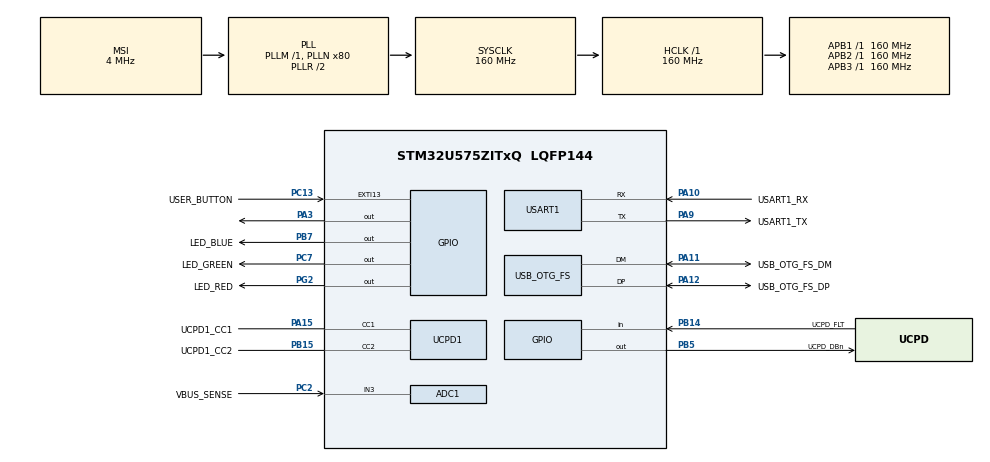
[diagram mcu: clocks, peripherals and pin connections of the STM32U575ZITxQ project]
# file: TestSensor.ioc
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ADC1.NbrOfConversion=1
ADC1.Resolution=ADC_RESOLUTION_14B
ADC1.master=1
CORTEX_M33_NS.userName=CORTEX_M33
Mcu.Family=STM32U5
Mcu.Name=STM32U575ZITxQ
Mcu.Package=LQFP144
NVIC.OTG_FS_IRQn=true\:0\:0\:false\:false\:true\:true\:true\:true
NVIC.PriorityGroup=NVIC_PRIORITYGROUP_3
NVIC.USART1_IRQn=true\:0\:0\:false\:false\:true\:true\:true\:true
PA10.GPIO_Label=USART1_RX
PA10.GPIO_PuPd=GPIO_PULLDOWN
PA10.GPIO_Speed=GPIO_SPEED_FREQ_VERY_HIGH
PA10.Mode=Asynchronous
PA10.Signal=USART1_RX
PA11.GPIO_Label=USB_OTG_FS_DM
PA11.GPIO_Speed=GPIO_SPEED_FREQ_VERY_HIGH
PA11.Mode=Device_Only
PA11.Signal=USB_OTG_FS_DM
PA12.GPIO_Label=USB_OTG_FS_DP
PA12.GPIO_Speed=GPIO_SPEED_FREQ_VERY_HIGH
PA12.Mode=Device_Only
PA12.Signal=USB_OTG_FS_DP
PA13\ (JTMS/SWDIO).Mode=Trace_Asynchronous_SW
PA13\ (JTMS/SWDIO).Signal=DEBUG_JTMS-SWDIO
PA14\ (JTCK/SWCLK).Mode=Trace_Asynchronous_SW
PA14\ (JTCK/SWCLK).Signal=DEBUG_JTCK-SWCLK
PA15\ (JTDI).GPIO_Label=UCPD1_CC1
PA15\ (JTDI).Mode=Sink_AllSignals
PA15\ (JTDI).Signal=UCPD1_CC1
PA3.Signal=GPIO_Output
PA9.GPIO_Label=USART1_TX
PA9.GPIO_PuPd=GPIO_PULLDOWN
PA9.GPIO_Speed=GPIO_SPEED_FREQ_VERY_HIGH
PA9.Mode=Asynchronous
PA9.Signal=USART1_TX
PB14.GPIO_Label=UCPD_FLT
PB14.Signal=GPIO_Input
PB15.GPIO_Label=UCPD1_CC2
PB15.Mode=Sink_AllSignals
PB15.Signal=UCPD1_CC2
PB3\ (JTDO/TRACESWO).Mode=Trace_Asynchronous_SW
PB3\ (JTDO/TRACESWO).Signal=DEBUG_JTDO-SWO
PB5.GPIO_Label=UCPD_DBn
PB5.Signal=GPIO_Output
PB7.GPIO_Label=LED_BLUE
PB7.GPIO_ModeDefaultOutputPP=GPIO_MODE_OUTPUT_PP
PB7.GPIO_PuPd=GPIO_PULLUP
PB7.GPIO_Speed=GPIO_SPEED_FREQ_HIGH
PB7.Signal=GPIO_Output
PC13.GPIO_Label=USER_BUTTON
PC13.GPIO_ModeDefaultEXTI=GPIO_MODE_IT_FALLING
PC13.Signal=GPXTI13
PC14-OSC32_IN\ (PC14).Signal=RCC_OSC32_IN
PC15-OSC32_OUT\ (PC15).Signal=RCC_OSC32_OUT
PC2.GPIO_Label=VBUS_SENSE
PC2.Mode=IN3-Single-Ended
PC2.Signal=ADC1_IN3
PC7.GPIO_Label=LED_GREEN
PC7.GPIO_PuPd=GPIO_PULLUP
PC7.GPIO_Speed=GPIO_SPEED_FREQ_HIGH
PC7.Signal=GPIO_Output
PG2.GPIO_Label=LED_RED
PG2.GPIO_ModeDefaultOutputPP=GPIO_MODE_OUTPUT_PP
PG2.GPIO_PuPd=GPIO_PULLUP
PG2.GPIO_Speed=GPIO_SPEED_FREQ_HIGH
PG2.Signal=GPIO_Output
PH0-OSC_IN\ (PH0).Mode=HSE-External-Oscillator
PH0-OSC_IN\ (PH0).Signal=RCC_OSC_IN
PH1-OSC_OUT\ (PH1).Mode=HSE-External-Oscillator
PH1-OSC_OUT\ (PH1).Signal=RCC_OSC_OUT
PWR.PowerMode=PWR_SMPS_SUPPLY
ProjectManager.HeapSize=0x200
ProjectManager.StackSize=0x400
ProjectManager.TargetToolchain=STM32CubeIDE
RCC.ADCFreq_Value=16000000
RCC.AHBFreq_Value=160000000
RCC.APB1Freq_Value=160000000
RCC.APB1TimFreq_Value=160000000
RCC.APB2Freq_Value=160000000
RCC.APB2TimFreq_Value=160000000
RCC.APB3Freq_Value=160000000
RCC.CortexFreq_Value=160000000
RCC.DACCLockSelectionVirtual=RCC_DAC1CLKSOURCE_LSI
RCC.EPOD_VALUE=4000000
RCC.HCLKFreq_Value=160000000
RCC.HSE_VALUE=16000000
RCC.HSI48_VALUE=48000000
RCC.HSI_VALUE=16000000
RCC.LSIDIV_VALUE=32000
RCC.MSI_VALUE=4000000
RCC.PLLN=80
RCC.SYSCLKFreq_VALUE=160000000
RCC.SYSCLKSource=RCC_SYSCLKSOURCE_PLLCLK
RCC.USBFreq_Value=48000000
RCC.VCOOutputFreq_Value=320000000
TIM2.Prescaler=159
USART1.VirtualMode-Asynchronous=VM_ASYNC
USB_OTG_FS.VirtualMode=Device_Only
VP_ICACHE_VS_ENABLE_ICACHE_MEMORY.Mode=Memoryregions
VP_ICACHE_VS_ICACHE.Mode=DirectMappedCache
VP_LPBAMQUEUE_VS_QUEUE.Mode=QUEUEMODE
VP_LPBAM_VS_SIG1.Mode=SmartRun
VP_LPBAM_VS_SIG4.Mode=LPDMA1
VP_MEMORYMAP_VS_MEMORYMAP.Mode=CurAppReg
VP_PWR_VS_DBSignals.Mode=DisableDeadBatterySignals
VP_PWR_VS_LPOM.Mode=PowerOptimisation
VP_PWR_VS_SECSignals.Mode=Security/Privilege
VP_PWR_Vdda.Mode=isolationVdda
VP_TIM2_VS_ClockSourceINT.Mode=Internal
board=NUCLEO-U575ZI-Q

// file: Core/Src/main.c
/* USER CODE BEGIN Header */
/**
  ******************************************************************************
  * @file           : main.c
  * @brief          : Main program body
  ******************************************************************************
  * @attention
  *
  * Copyright (c) 2024 STMicroelectronics.
  * All rights reserved.
  *
  * This software is licensed under terms that can be found in the LICENSE file
  * in the root directory of this software component.
  * If no LICENSE file comes with this software, it is provided AS-IS.
  *
  ******************************************************************************
  */
/* USER CODE END Header */
#include "main.h"

ADC_HandleTypeDef hadc1;

TIM_HandleTypeDef htim2;

UART_HandleTypeDef huart1;

PCD_HandleTypeDef hpcd_USB_OTG_FS;

void SystemClock_Config(void);
static void SystemPower_Config(void);
static void MX_GPIO_Init(void);
static void MX_ADC1_Init(void);
static void MX_ICACHE_Init(void);
static void MX_UCPD1_Init(void);
static void MX_USART1_UART_Init(void);
static void MX_USB_OTG_FS_PCD_Init(void);
static void MX_TIM2_Init(void);
/* USER CODE BEGIN PFP */
/* Retargets the C library printf function to the USART. */
#include <stdio.h>
#ifdef __GNUC__
int __io_putchar(int ch)
#else
int fputc(int ch, FILE *f)
#endif
{
    HAL_UART_Transmit(&huart1, (uint8_t *)&ch, 1, 0xFFFF);

    return ch;
}
#ifdef __GNUC__
int _write(int file,char *ptr, int len)
{
    int DataIdx;
    for (DataIdx= 0; DataIdx< len; DataIdx++) {
        __io_putchar(*ptr++);
    }
    return len;
}
#endif

void DHT11_Init(void);
void DHT11_Start(void);
uint8_t DHT11_CheckResponse(void);
uint8_t DHT11_ReadData(void);
void DHT11_GetData(uint8_t* temperature, uint8_t* humidity);
void DelayMicroseconds(uint16_t us);
/* USER CODE END PFP */

/* USER CODE BEGIN 0 */
void DelayMicroseconds(uint16_t us) {
    // Prendi il valore iniziale del contatore del timer
    uint16_t start = __HAL_TIM_GET_COUNTER(&htim2);

    // Aspetta finché il tempo trascorso non è uguale al ritardo richiesto
    while ((__HAL_TIM_GET_COUNTER(&htim2) - start) < us) {
        // Può causare overflow, ma si gestisce automaticamente
    }
}

void DHT11_Init(void) {
    GPIO_InitTypeDef GPIO_InitStruct = {0};

    // Imposta il pin come output per inviare il segnale di start
    GPIO_InitStruct.Pin = GPIO_PIN_2;
    GPIO_InitStruct.Mode = GPIO_MODE_OUTPUT_PP;
    GPIO_InitStruct.Pull = GPIO_NOPULL;
    GPIO_InitStruct.Speed = GPIO_SPEED_FREQ_LOW;
    HAL_GPIO_Init(GPIOA, &GPIO_InitStruct);
}

void DHT11_Start(void) {
    // Imposta il pin basso per 18 ms
    HAL_GPIO_WritePin(GPIOA, GPIO_PIN_2, GPIO_PIN_RESET);
    HAL_Delay(18); // 18 ms
    // Riporta il pin alto per 20-40 µs
    HAL_GPIO_WritePin(GPIOA, GPIO_PIN_2, GPIO_PIN_SET);
    DelayMicroseconds(30);
}

uint8_t DHT11_CheckResponse(void) {
    uint8_t response = 0;

    // Configura il pin come input per ricevere la risposta
    GPIO_InitTypeDef GPIO_InitStruct = {0};
    GPIO_InitStruct.Pin = GPIO_PIN_2;
    GPIO_InitStruct.Mode = GPIO_MODE_INPUT;
    GPIO_InitStruct.Pull = GPIO_NOPULL;
    HAL_GPIO_Init(GPIOA, &GPIO_InitStruct);

    // Controlla se il sensore manda il segnale basso e poi alto
    if (!HAL_GPIO_ReadPin(GPIOA, GPIO_PIN_2)) {
        DelayMicroseconds(80); // Aspetta 80 µs
        if (HAL_GPIO_ReadPin(GPIOA, GPIO_PIN_2)) {
            response = 1; // DHT11 ha risposto correttamente
        }
    }
    DelayMicroseconds(80);
    return response;
}

uint8_t DHT11_ReadData(void) {
    uint8_t data = 0;
    for (int i = 0; i < 8; i++) {
        // Aspetta il segnale basso (50 µs)
        while (!HAL_GPIO_ReadPin(GPIOA, GPIO_PIN_2));
        DelayMicroseconds(40); // Aspetta 40 µs

        // Leggi il bit
        if (HAL_GPIO_ReadPin(GPIOA, GPIO_PIN_2)) {
            data |= (1 << (7 - i)); // Se il segnale è alto, è un 1
        }
        // Aspetta che il segnale ritorni basso
        while (HAL_GPIO_ReadPin(GPIOA, GPIO_PIN_2));
    }
    return data;
}

void DHT11_GetData(uint8_t* temperature, uint8_t* humidity) {
    uint8_t rh_int, rh_dec, temp_int, temp_dec, checksum;

    DHT11_Start();
    if (DHT11_CheckResponse()) {
        rh_int = DHT11_ReadData();
        rh_dec = DHT11_ReadData();
        temp_int = DHT11_ReadData();
        temp_dec = DHT11_ReadData();
        checksum = DHT11_ReadData();

        // Verifica del checksum
        if ((rh_int + rh_dec + temp_int + temp_dec) == checksum) {
            *humidity = rh_int;
            *temperature = temp_int;
        }
    }
}
/* USER CODE END 0 */

int main(void)
{

  /* USER CODE BEGIN 1 */
	/* Turn off buffers, so I/O occurs immediately */
	    setvbuf(stdin, NULL, _IONBF, 0);
	    setvbuf(stdout, NULL, _IONBF, 0);
	    setvbuf(stderr, NULL, _IONBF, 0);
  /* USER CODE END 1 */

  /* MCU Configuration--------------------------------------------------------*/

  /* Reset of all peripherals, Initializes the Flash interface and the Systick. */
  HAL_Init();

  /* Configure the system clock */
  SystemClock_Config();

  /* Configure the System Power */
  SystemPower_Config();

  /* Initialize all configured peripherals */
  MX_GPIO_Init();
  MX_ADC1_Init();
  MX_ICACHE_Init();
  MX_UCPD1_Init();
  MX_USART1_UART_Init();
  MX_USB_OTG_FS_PCD_Init();
  MX_TIM2_Init();
  /* USER CODE BEGIN 2 */
  uint8_t temperature = 0;
  uint8_t humidity = 0;

  DHT11_Init();
  /* USER CODE END 2 */

  /* Infinite loop */
  while (1)
  {
	  printf("I'm here!\r\n");
	  DHT11_GetData(&temperature, &humidity);
	  printf("Temperature: %d°C, Humidity: %d%%\r\n", temperature, humidity);
	  HAL_Delay(2000); // Leggi ogni 2 secondi
  }
}

void SystemClock_Config(void)
{
  RCC_OscInitTypeDef RCC_OscInitStruct = {0};
  RCC_ClkInitTypeDef RCC_ClkInitStruct = {0};

  /** Configure the main internal regulator output voltage
  */
  if (HAL_PWREx_ControlVoltageScaling(PWR_REGULATOR_VOLTAGE_SCALE1) != HAL_OK)
  {
    Error_Handler();
  }

  /** Initializes the CPU, AHB and APB buses clocks
  */
  RCC_OscInitStruct.OscillatorType = RCC_OSCILLATORTYPE_HSI48|RCC_OSCILLATORTYPE_HSI
                              |RCC_OSCILLATORTYPE_MSI;
  RCC_OscInitStruct.HSIState = RCC_HSI_ON;
  RCC_OscInitStruct.HSI48State = RCC_HSI48_ON;
  RCC_OscInitStruct.HSICalibrationValue = RCC_HSICALIBRATION_DEFAULT;
  RCC_OscInitStruct.MSIState = RCC_MSI_ON;
  RCC_OscInitStruct.MSICalibrationValue = RCC_MSICALIBRATION_DEFAULT;
  RCC_OscInitStruct.MSIClockRange = RCC_MSIRANGE_4;
  RCC_OscInitStruct.PLL.PLLState = RCC_PLL_ON;
  RCC_OscInitStruct.PLL.PLLSource = RCC_PLLSOURCE_MSI;
  RCC_OscInitStruct.PLL.PLLMBOOST = RCC_PLLMBOOST_DIV1;
  RCC_OscInitStruct.PLL.PLLM = 1;
  RCC_OscInitStruct.PLL.PLLN = 80;
  RCC_OscInitStruct.PLL.PLLP = 2;
  RCC_OscInitStruct.PLL.PLLQ = 2;
  RCC_OscInitStruct.PLL.PLLR = 2;
  RCC_OscInitStruct.PLL.PLLRGE = RCC_PLLVCIRANGE_0;
  RCC_OscInitStruct.PLL.PLLFRACN = 0;
  if (HAL_RCC_OscConfig(&RCC_OscInitStruct) != HAL_OK)
  {
    Error_Handler();
  }

  /** Initializes the CPU, AHB and APB buses clocks
  */
  RCC_ClkInitStruct.ClockType = RCC_CLOCKTYPE_HCLK|RCC_CLOCKTYPE_SYSCLK
                              |RCC_CLOCKTYPE_PCLK1|RCC_CLOCKTYPE_PCLK2
                              |RCC_CLOCKTYPE_PCLK3;
  RCC_ClkInitStruct.SYSCLKSource = RCC_SYSCLKSOURCE_PLLCLK;
  RCC_ClkInitStruct.AHBCLKDivider = RCC_SYSCLK_DIV1;
  RCC_ClkInitStruct.APB1CLKDivider = RCC_HCLK_DIV1;
  RCC_ClkInitStruct.APB2CLKDivider = RCC_HCLK_DIV1;
  RCC_ClkInitStruct.APB3CLKDivider = RCC_HCLK_DIV1;

  if (HAL_RCC_ClockConfig(&RCC_ClkInitStruct, FLASH_LATENCY_4) != HAL_OK)
  {
    Error_Handler();
  }
}

/**
  * @brief Power Configuration
  * @retval None
  */
static void SystemPower_Config(void)
{
  HAL_PWREx_EnableVddIO2();

  /*
   * Switch to SMPS regulator instead of LDO
   */
  if (HAL_PWREx_ConfigSupply(PWR_SMPS_SUPPLY) != HAL_OK)
  {
    Error_Handler();
  }
}

static void MX_ADC1_Init(void)
{

  /** Common config
  */
  hadc1.Instance = ADC1;
  hadc1.Init.ClockPrescaler = ADC_CLOCK_ASYNC_DIV1;
  hadc1.Init.Resolution = ADC_RESOLUTION_14B;
  hadc1.Init.GainCompensation = 0;
  hadc1.Init.ScanConvMode = ADC_SCAN_DISABLE;
  hadc1.Init.EOCSelection = ADC_EOC_SINGLE_CONV;
  hadc1.Init.LowPowerAutoWait = DISABLE;
  hadc1.Init.ContinuousConvMode = DISABLE;
  hadc1.Init.NbrOfConversion = 1;
  hadc1.Init.DiscontinuousConvMode = DISABLE;
  hadc1.Init.DMAContinuousRequests = DISABLE;
  hadc1.Init.TriggerFrequencyMode = ADC_TRIGGER_FREQ_HIGH;
  hadc1.Init.Overrun = ADC_OVR_DATA_PRESERVED;
  hadc1.Init.LeftBitShift = ADC_LEFTBITSHIFT_NONE;
  hadc1.Init.ConversionDataManagement = ADC_CONVERSIONDATA_DR;
  hadc1.Init.OversamplingMode = DISABLE;
  if (HAL_ADC_Init(&hadc1) != HAL_OK)
  {
    Error_Handler();
  }

}

static void MX_ICACHE_Init(void)
{

  /** Enable instruction cache in 1-way (direct mapped cache)
  */
  if (HAL_ICACHE_ConfigAssociativityMode(ICACHE_1WAY) != HAL_OK)
  {
    Error_Handler();
  }
  if (HAL_ICACHE_Enable() != HAL_OK)
  {
    Error_Handler();
  }

}

static void MX_TIM2_Init(void)
{

  TIM_ClockConfigTypeDef sClockSourceConfig = {0};
  TIM_MasterConfigTypeDef sMasterConfig = {0};

  htim2.Instance = TIM2;
  htim2.Init.Prescaler = 159;
  htim2.Init.CounterMode = TIM_COUNTERMODE_UP;
  htim2.Init.Period = 4294967295;
  htim2.Init.ClockDivision = TIM_CLOCKDIVISION_DIV1;
  htim2.Init.AutoReloadPreload = TIM_AUTORELOAD_PRELOAD_DISABLE;
  if (HAL_TIM_Base_Init(&htim2) != HAL_OK)
  {
    Error_Handler();
  }
  sClockSourceConfig.ClockSource = TIM_CLOCKSOURCE_INTERNAL;
  if (HAL_TIM_ConfigClockSource(&htim2, &sClockSourceConfig) != HAL_OK)
  {
    Error_Handler();
  }
  sMasterConfig.MasterOutputTrigger = TIM_TRGO_RESET;
  sMasterConfig.MasterSlaveMode = TIM_MASTERSLAVEMODE_DISABLE;
  if (HAL_TIMEx_MasterConfigSynchronization(&htim2, &sMasterConfig) != HAL_OK)
  {
    Error_Handler();
  }

}

static void MX_UCPD1_Init(void)
{

  LL_GPIO_InitTypeDef GPIO_InitStruct = {0};

  /* Peripheral clock enable */
  LL_APB1_GRP2_EnableClock(LL_APB1_GRP2_PERIPH_UCPD1);

  LL_AHB2_GRP1_EnableClock(LL_AHB2_GRP1_PERIPH_GPIOB);
  LL_AHB2_GRP1_EnableClock(LL_AHB2_GRP1_PERIPH_GPIOA);
  /**UCPD1 GPIO Configuration
  PB15   ------> UCPD1_CC2
  PA15 (JTDI)   ------> UCPD1_CC1
  */
  GPIO_InitStruct.Pin = LL_GPIO_PIN_15;
  GPIO_InitStruct.Mode = LL_GPIO_MODE_ANALOG;
  GPIO_InitStruct.Pull = LL_GPIO_PULL_NO;
  LL_GPIO_Init(GPIOB, &GPIO_InitStruct);

  GPIO_InitStruct.Pin = LL_GPIO_PIN_15;
  GPIO_InitStruct.Mode = LL_GPIO_MODE_ANALOG;
  GPIO_InitStruct.Pull = LL_GPIO_PULL_NO;
  LL_GPIO_Init(GPIOA, &GPIO_InitStruct);

}

static void MX_USART1_UART_Init(void)
{

  huart1.Instance = USART1;
  huart1.Init.BaudRate = 115200;
  huart1.Init.WordLength = UART_WORDLENGTH_8B;
  huart1.Init.StopBits = UART_STOPBITS_1;
  huart1.Init.Parity = UART_PARITY_NONE;
  huart1.Init.Mode = UART_MODE_TX_RX;
  huart1.Init.HwFlowCtl = UART_HWCONTROL_NONE;
  huart1.Init.OverSampling = UART_OVERSAMPLING_16;
  huart1.Init.OneBitSampling = UART_ONE_BIT_SAMPLE_DISABLE;
  huart1.Init.ClockPrescaler = UART_PRESCALER_DIV1;
  huart1.AdvancedInit.AdvFeatureInit = UART_ADVFEATURE_NO_INIT;
  if (HAL_UART_Init(&huart1) != HAL_OK)
  {
    Error_Handler();
  }
  if (HAL_UARTEx_SetTxFifoThreshold(&huart1, UART_TXFIFO_THRESHOLD_1_8) != HAL_OK)
  {
    Error_Handler();
  }
  if (HAL_UARTEx_SetRxFifoThreshold(&huart1, UART_RXFIFO_THRESHOLD_1_8) != HAL_OK)
  {
    Error_Handler();
  }
  if (HAL_UARTEx_DisableFifoMode(&huart1) != HAL_OK)
  {
    Error_Handler();
  }

}

static void MX_USB_OTG_FS_PCD_Init(void)
{

  hpcd_USB_OTG_FS.Instance = USB_OTG_FS;
  hpcd_USB_OTG_FS.Init.dev_endpoints = 6;
  hpcd_USB_OTG_FS.Init.speed = PCD_SPEED_FULL;
  hpcd_USB_OTG_FS.Init.phy_itface = PCD_PHY_EMBEDDED;
  hpcd_USB_OTG_FS.Init.Sof_enable = DISABLE;
  hpcd_USB_OTG_FS.Init.low_power_enable = DISABLE;
  hpcd_USB_OTG_FS.Init.lpm_enable = DISABLE;
  hpcd_USB_OTG_FS.Init.battery_charging_enable = DISABLE;
  hpcd_USB_OTG_FS.Init.use_dedicated_ep1 = DISABLE;
  hpcd_USB_OTG_FS.Init.vbus_sensing_enable = DISABLE;
  hpcd_USB_OTG_FS.Init.dma_enable = DISABLE;
  if (HAL_PCD_Init(&hpcd_USB_OTG_FS) != HAL_OK)
  {
    Error_Handler();
  }

}

static void MX_GPIO_Init(void)
{
  GPIO_InitTypeDef GPIO_InitStruct = {0};

  /* GPIO Ports Clock Enable */
  __HAL_RCC_GPIOC_CLK_ENABLE();
  __HAL_RCC_GPIOH_CLK_ENABLE();
  __HAL_RCC_GPIOA_CLK_ENABLE();
  __HAL_RCC_GPIOB_CLK_ENABLE();
  __HAL_RCC_GPIOG_CLK_ENABLE();

  /*Configure GPIO pin Output Level */
  HAL_GPIO_WritePin(GPIOA, GPIO_PIN_3, GPIO_PIN_RESET);

  /*Configure GPIO pin Output Level */
  HAL_GPIO_WritePin(LED_RED_GPIO_Port, LED_RED_Pin, GPIO_PIN_RESET);

  /*Configure GPIO pin Output Level */
  HAL_GPIO_WritePin(LED_GREEN_GPIO_Port, LED_GREEN_Pin, GPIO_PIN_RESET);

  /*Configure GPIO pin Output Level */
  HAL_GPIO_WritePin(GPIOB, UCPD_DBn_Pin|LED_BLUE_Pin, GPIO_PIN_RESET);

  /*Configure GPIO pin : USER_BUTTON_Pin */
  GPIO_InitStruct.Pin = USER_BUTTON_Pin;
  GPIO_InitStruct.Mode = GPIO_MODE_IT_FALLING;
  GPIO_InitStruct.Pull = GPIO_NOPULL;
  HAL_GPIO_Init(USER_BUTTON_GPIO_Port, &GPIO_InitStruct);

  /*Configure GPIO pin : PA3 */
  GPIO_InitStruct.Pin = GPIO_PIN_3;
  GPIO_InitStruct.Mode = GPIO_MODE_OUTPUT_PP;
  GPIO_InitStruct.Pull = GPIO_NOPULL;
  GPIO_InitStruct.Speed = GPIO_SPEED_FREQ_LOW;
  HAL_GPIO_Init(GPIOA, &GPIO_InitStruct);

  /*Configure GPIO pin : UCPD_FLT_Pin */
  GPIO_InitStruct.Pin = UCPD_FLT_Pin;
  GPIO_InitStruct.Mode = GPIO_MODE_INPUT;
  GPIO_InitStruct.Pull = GPIO_NOPULL;
  HAL_GPIO_Init(UCPD_FLT_GPIO_Port, &GPIO_InitStruct);

  /*Configure GPIO pin : LED_RED_Pin */
  GPIO_InitStruct.Pin = LED_RED_Pin;
  GPIO_InitStruct.Mode = GPIO_MODE_OUTPUT_PP;
  GPIO_InitStruct.Pull = GPIO_PULLUP;
  GPIO_InitStruct.Speed = GPIO_SPEED_FREQ_HIGH;
  HAL_GPIO_Init(LED_RED_GPIO_Port, &GPIO_InitStruct);

  /*Configure GPIO pin : LED_GREEN_Pin */
  GPIO_InitStruct.Pin = LED_GREEN_Pin;
  GPIO_InitStruct.Mode = GPIO_MODE_OUTPUT_PP;
  GPIO_InitStruct.Pull = GPIO_PULLUP;
  GPIO_InitStruct.Speed = GPIO_SPEED_FREQ_HIGH;
  HAL_GPIO_Init(LED_GREEN_GPIO_Port, &GPIO_InitStruct);

  /*Configure GPIO pin : UCPD_DBn_Pin */
  GPIO_InitStruct.Pin = UCPD_DBn_Pin;
  GPIO_InitStruct.Mode = GPIO_MODE_OUTPUT_PP;
  GPIO_InitStruct.Pull = GPIO_NOPULL;
  GPIO_InitStruct.Speed = GPIO_SPEED_FREQ_LOW;
  HAL_GPIO_Init(UCPD_DBn_GPIO_Port, &GPIO_InitStruct);

  /*Configure GPIO pin : LED_BLUE_Pin */
  GPIO_InitStruct.Pin = LED_BLUE_Pin;
  GPIO_InitStruct.Mode = GPIO_MODE_OUTPUT_PP;
  GPIO_InitStruct.Pull = GPIO_PULLUP;
  GPIO_InitStruct.Speed = GPIO_SPEED_FREQ_HIGH;
  HAL_GPIO_Init(LED_BLUE_GPIO_Port, &GPIO_InitStruct);

}

void Error_Handler(void)
{
  __disable_irq();
  while (1)
  {
  }
}
